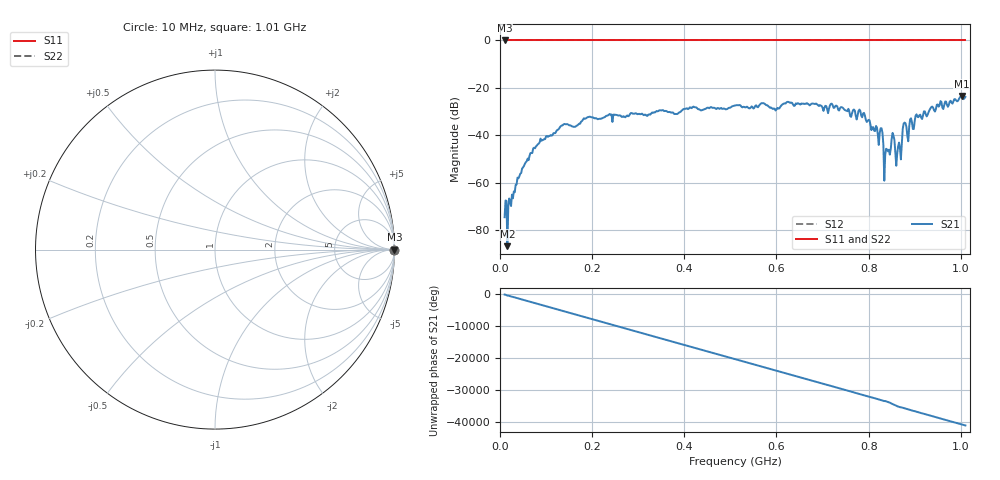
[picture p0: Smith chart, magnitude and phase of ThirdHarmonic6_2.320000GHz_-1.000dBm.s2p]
! 8/17/2025 3:17:11 AM
! C:\ANRITSUVNA\TEMP\TEMP.S2P
! CHANNEL.1
! TR.MEASUREMENT
! RAW.DATA
! RF.CORRECTION.OFF
! AVERAGING.OFF
! IF.BANDWIDTH: 5KHZ
! SWEEPTYPE:  FREQ.SWEEP(Linear)
! Reference Plane Port Info
! PORT:  PORT1  PORT2
! DISTANCE:  0  m  0  m
! TIME:  0  s  0  s
! PHASE.OFFSET:  0  deg.  0  deg.
! LOSS:  0  dB  0  dB
! REF.LOSS:  0  dB  0  dB
! REF.FREQ:  0  Hz  0  Hz
! Power Info
! POWER:  -20  dBm  -20  dBm
! EFF.POWER:  -20  dBm  -20  dBm
! SOURCE.ATTEN:  0  dB  0  dB
! TEST.ATTEN:  0  dB  0  dB
# GHZ S RI R 50.0
! FREQ.GHZ  S11RE  S11IM  S21RE  S21IM  S12RE  S12IM  S22RE  S22IM
!; PortSelection: Port_12
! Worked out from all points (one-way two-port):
!   501 points, 10 MHz to 1.01 GHz, reference 50 ohm
!   highest |S21| = -23.38 dB at 1.002 GHz (marker M1); lowest = -86.6 dB at 16 MHz (marker M2)
!   lowest |S11| = 0.0 dB at 10 MHz (marker M3)
!   |S11| at or under -10 dB: nowhere
!   |S22| runs from 0.0 to 0.0 dB; largest |S21 - S12| = 1.1
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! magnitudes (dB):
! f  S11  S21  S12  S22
! 10 MHz  0.0  -74.4  0.0  0.0
! 16 MHz  0.0  -86.6  0.0  0.0
! 20 MHz  0.0  -66.6  0.0  0.0
! 52 MHz  0.0  -52.8  0.0  0.0
! 84 MHz  0.0  -43.5  0.0  0.0
! 136 MHz  0.0  -35.7  0.0  0.0
! 178 MHz  0.0  -33.9  0.0  0.0
! 344 MHz  0.0  -29.7  0.0  0.0
! 510 MHz  0.0  -27.4  0.0  0.0
! 678 MHz  0.0  -26.6  0.0  0.0
! 784 MHz  0.0  -31.7  0.0  0.0
! 828 MHz  0.0  -37.0  0.0  0.0
! 838 MHz  0.0  -45.6  0.0  0.0
! 844 MHz  0.0  -46.0  0.0  0.0
! 852 MHz  0.0  -38.9  0.0  0.0
! 860 MHz  0.0  -52.8  0.0  0.0
! 866 MHz  0.0  -43.0  0.0  0.0
! 878 MHz  0.0  -34.6  0.0  0.0
! 884 MHz  0.0  -40.1  0.0  0.0
! 906 MHz  0.0  -32.1  0.0  0.0
! 1.002 GHz  0.0  -23.4  0.0  0.0
! 1.01 GHz  0.0  -23.8  0.0  0.0
